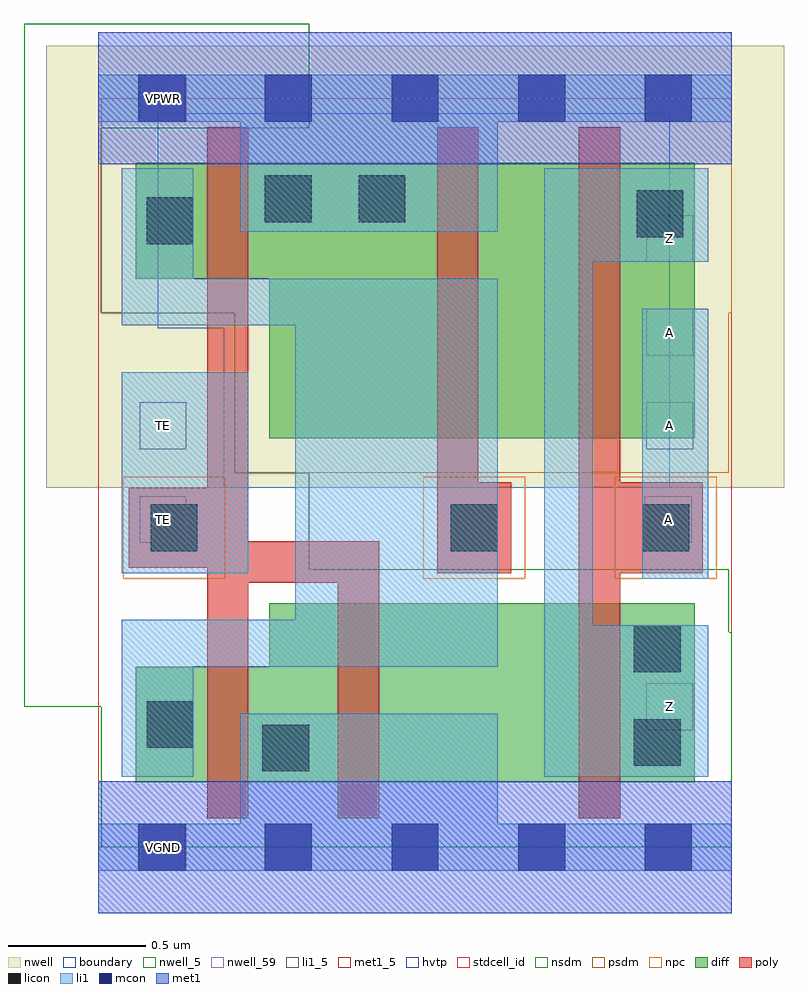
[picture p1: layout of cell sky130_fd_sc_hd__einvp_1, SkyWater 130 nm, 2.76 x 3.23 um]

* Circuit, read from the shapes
.subckt sky130_fd_sc_hd__einvp_1 A TE VGND VNB VPB VPWR Z
XM1 VGND TE n1 VNB sky130_fd_pr__nfet_01v8 w=0.42 l=0.15
XM2 n2 TE VGND VNB sky130_fd_pr__nfet_01v8 w=0.65 l=0.15
XM3 Z A n2 VNB sky130_fd_pr__nfet_01v8 w=0.65 l=0.15
XM4 VPWR TE n1 VPB sky130_fd_pr__pfet_01v8_hvt w=0.42 l=0.15
XM5 n3 n1 VPWR VPB sky130_fd_pr__pfet_01v8_hvt w=1 l=0.15
XM6 Z A n3 VPB sky130_fd_pr__pfet_01v8_hvt w=1 l=0.15
.ends

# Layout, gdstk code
import gdstk
lib = gdstk.Library(unit=1e-6, precision=1e-09)
def R(c, l, rs):  # rectangles x0, y0, x1, y1
    for r in rs: c.add(gdstk.rectangle(r[:2], r[2:], *l))
def A(c, l, x, y, w, h, nx, ny, dx, dy):  # array of equal rectangles
    R(c, l, [(x+i*dx, y+j*dy, x+i*dx+w, y+j*dy+h) for i in range(nx) for j in range(ny)])
nwell_5 = (64, 5)
nwell = (64, 20)
nwell_59 = (64, 59)
diff = (65, 20)
poly = (66, 20)
licon = (66, 44)
li1_5 = (67, 5)
li1 = (67, 20)
mcon = (67, 44)
met1_5 = (68, 5)
met1 = (68, 20)
hvtp = (78, 44)
stdcell_id = (81, 4)
nsdm = (93, 44)
psdm = (94, 20)
npc = (95, 20)
boundary = (235, 4)

sky130_fd_sc_hd__einvp_1 = lib.new_cell('sky130_fd_sc_hd__einvp_1')
R(sky130_fd_sc_hd__einvp_1, nwell_5, [(0.15,2.635,0.32,2.805)])
R(sky130_fd_sc_hd__einvp_1, nwell, [(-0.19,1.305,2.49,2.91)])
R(sky130_fd_sc_hd__einvp_1, nwell_59, [(0.15,-0.085,0.32,0.085)])
R(sky130_fd_sc_hd__einvp_1, diff, [(0.135,0.235,2.165,0.655), (0.62,0.655,2.165,0.885), (0.62,1.485,2.165,2.065), (0.135,2.065,2.165,2.485)])
R(sky130_fd_sc_hd__einvp_1, poly, [(0.395,0.105,0.545,0.96), (0.87,0.105,1.02,0.96), (1.745,0.105,1.895,0.995), (0.395,0.96,1.02,1.015), (1.23,0.995,1.5,1.325), (1.745,0.995,2.195,1.325), (0.11,1.015,1.02,1.11), (0.11,1.11,0.545,1.305), (0.395,1.305,0.545,2.615), (1.23,1.325,1.38,2.615), (1.745,1.325,1.895,2.615)])
R(sky130_fd_sc_hd__einvp_1, licon, [(0.595,0.275,0.765,0.445), (1.945,0.295,2.115,0.465), (0.175,0.36,0.345,0.53), (1.945,0.635,2.115,0.805), (0.19,1.075,0.36,1.245), (1.28,1.075,1.45,1.245), (1.975,1.075,2.145,1.245), (0.175,2.19,0.345,2.36), (1.955,2.215,2.125,2.385), (0.605,2.27,0.775,2.44), (0.945,2.27,1.115,2.44)])
A(sky130_fd_sc_hd__einvp_1, li1_5, 1.99, 1.445, 0.17, 0.17, 1, 3, 0, 0.34)
R(sky130_fd_sc_hd__einvp_1, li1_5, [(1.99,0.425,2.16,0.595), (0.15,1.105,0.32,1.275), (1.985,1.105,2.155,1.275), (0.15,1.445,0.32,1.615)])
R(sky130_fd_sc_hd__einvp_1, li1, [(0,-0.085,2.3,0.085), (0.515,0.085,1.45,0.485), (0.085,0.255,0.345,0.655), (1.62,0.255,2.215,0.805), (0.085,0.655,1.45,0.825), (1.62,0.805,1.795,2.125), (0.715,0.825,1.45,1.895), (1.975,0.975,2.215,1.955), (0.085,0.995,0.545,1.725), (0.085,1.895,1.45,2.065), (0.085,2.065,0.345,2.465), (1.62,2.125,2.215,2.465), (0.515,2.235,1.45,2.635), (0,2.635,2.3,2.805)])
A(sky130_fd_sc_hd__einvp_1, mcon, 0.145, -0.085, 0.17, 0.17, 5, 2, 0.46, 2.72)
R(sky130_fd_sc_hd__einvp_1, met1_5, [(0.15,-0.085,0.32,0.085), (0.15,2.635,0.32,2.805)])
R(sky130_fd_sc_hd__einvp_1, met1, [(0,-0.24,2.3,0.24), (0,2.48,2.3,2.96)])
R(sky130_fd_sc_hd__einvp_1, hvtp, [(0.455,1.305,2.075,1.885), (0.215,1.885,2.075,2.665)])
R(sky130_fd_sc_hd__einvp_1, stdcell_id, [(0,0,2.3,2.72)])
R(sky130_fd_sc_hd__einvp_1, nsdm, [(0.01,0,2.3,0.51), (-0.27,0.51,2.3,0.78), (-0.27,0.78,2.29,1.01), (-0.27,1.01,0.765,1.36), (-0.27,1.36,0.495,1.94), (-0.27,1.94,0.01,2.61), (-0.27,2.61,0.765,2.99)])
R(sky130_fd_sc_hd__einvp_1, psdm, [(0.495,1.36,2.29,1.94), (0.01,1.94,2.3,2.72)])
R(sky130_fd_sc_hd__einvp_1, npc, [(0.09,0.975,0.46,1.345), (1.18,0.975,1.55,1.345), (1.875,0.975,2.245,1.345)])
R(sky130_fd_sc_hd__einvp_1, boundary, [(0,0,2.3,2.72)])
sky130_fd_sc_hd__einvp_1.add(gdstk.Label('TE', (0.235,1.19), layer=67, texttype=5))
sky130_fd_sc_hd__einvp_1.add(gdstk.Label('TE', (0.235,1.53), layer=67, texttype=5))
sky130_fd_sc_hd__einvp_1.add(gdstk.Label('A', (2.07,1.19), layer=67, texttype=5))
sky130_fd_sc_hd__einvp_1.add(gdstk.Label('A', (2.075,1.87), layer=67, texttype=5))
sky130_fd_sc_hd__einvp_1.add(gdstk.Label('A', (2.075,1.53), layer=67, texttype=5))
sky130_fd_sc_hd__einvp_1.add(gdstk.Label('Z', (2.075,2.21), layer=67, texttype=5))
sky130_fd_sc_hd__einvp_1.add(gdstk.Label('Z', (2.075,0.51), layer=67, texttype=5))
sky130_fd_sc_hd__einvp_1.add(gdstk.Label('VPWR', (0.235,2.72), layer=68, texttype=5))
sky130_fd_sc_hd__einvp_1.add(gdstk.Label('VGND', (0.235,0), layer=68, texttype=5))
sky130_fd_sc_hd__einvp_1.add(gdstk.Label('VPB', (0.235,2.72), layer=64, texttype=5))
sky130_fd_sc_hd__einvp_1.add(gdstk.Label('VNB', (0.235,0), layer=64, texttype=59))

lib.write_gds('sky130_fd_sc_hd__einvp_1.gds')
